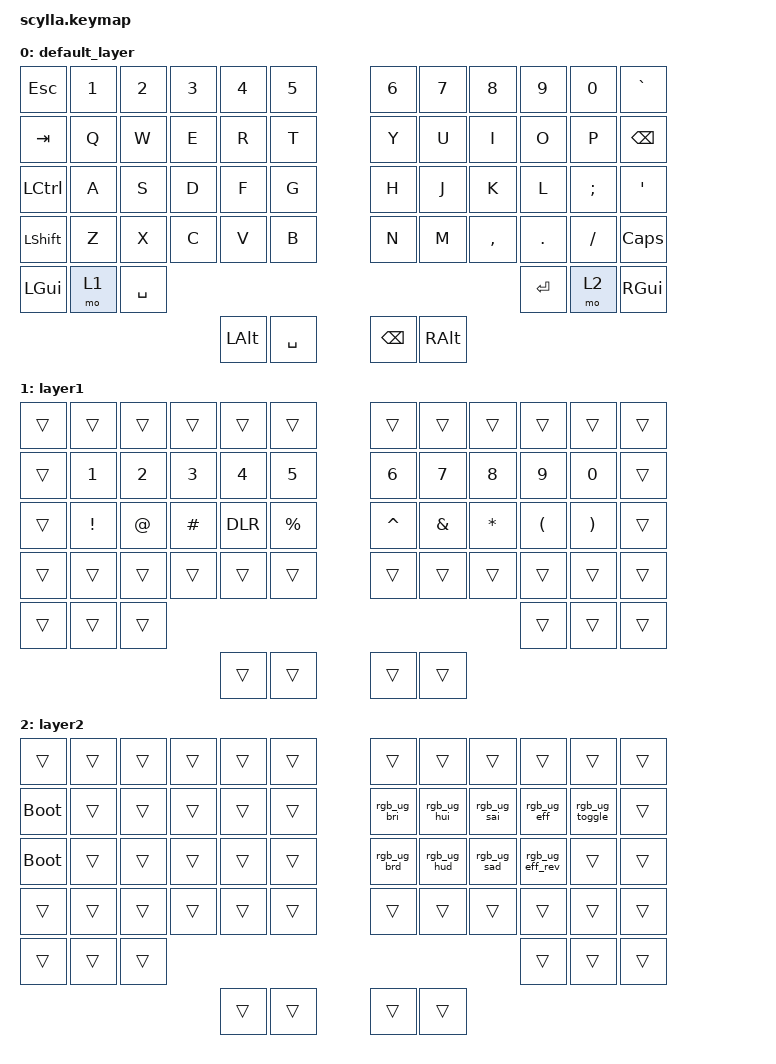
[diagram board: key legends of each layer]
#include <behaviors.dtsi>
#include <dt-bindings/zmk/keys.h>

/ {
	keymap {
		compatible = "zmk,keymap";

		default_layer {
// -----------------------------------------------------------------------------------------------------------------
// |  ESC  |  1  |  2  |  3   |  4   |  5  |                    |  6  |  7   |  8   |  9   |  0   |  GRV |
// |  TAB  |  Q  |  W  |  E   |  R   |  T  |                    |  Y  |  U   |  I   |  O   |  P   |  BSPC |
// | LCTRL |  A  |  S  |  D   |  F   |  G  |                    |  H  |  J   |  K   |  L   |  ;   |  QUOT |
// | LSHFT |  Z  |  X  |  C   |  V   |  B  |                    |  N  |  M   |  ,   |  .   |  /   |  CAPS |
//                 | LGUI | MO(1) | SPC |       | ENT | MO(2) | RGUI |
//                          | LALT | SPC |       | BSPC | RALT |
			bindings = <
&kp ESC      &kp NUMBER_1 &kp NUMBER_2 &kp NUMBER_3 &kp NUMBER_4 &kp NUMBER_5                     &kp NUMBER_6 &kp NUMBER_7 &kp NUMBER_8 &kp NUMBER_9 &kp NUMBER_0 &kp GRAVE
&kp TAB      &kp Q        &kp W        &kp E        &kp R        &kp T                            &kp Y        &kp U        &kp I        &kp O        &kp P        &kp BSPC
&kp LCTRL    &kp A        &kp S        &kp D        &kp F        &kp G                            &kp H        &kp J        &kp K        &kp L        &kp SEMI     &kp SQT
&kp LSHFT    &kp Z        &kp X        &kp C        &kp V        &kp B                            &kp N        &kp M        &kp COMMA    &kp DOT      &kp SLASH    &kp CAPS
                    &kp LGUI &mo 1 &kp SPACE &kp ENTER &mo 2 &kp RGUI
                    &kp LALT &kp SPACE &kp BSPC &kp RALT
			>;
		};

		layer1 {
// -----------------------------------------------------------------------------------------------------------------
// Number / symbol layer
// |      |  1  |  2  |  3   |  4   |  5  |                    |  6  |  7   |  8   |  9   |  0   |      |
// |      |  !  |  @  |  #   |  $   |  %  |                    |  ^  |  &   |  *   |  (   |  )   |      |
			bindings = <
&trans &trans &trans &trans &trans &trans                     &trans &trans &trans &trans &trans &trans
&trans &kp NUMBER_1 &kp NUMBER_2 &kp NUMBER_3 &kp NUMBER_4 &kp NUMBER_5                     &kp NUMBER_6 &kp NUMBER_7 &kp NUMBER_8 &kp NUMBER_9 &kp NUMBER_0 &trans
&trans &kp EXCL &kp AT &kp HASH &kp DLR &kp PERCENT                     &kp CARET &kp AMPS &kp ASTERISK &kp LPAR &kp RPAR &trans
&trans &trans &trans &trans &trans &trans                     &trans &trans &trans &trans &trans &trans
                    &trans &trans &trans &trans &trans &trans
                    &trans &trans &trans &trans
			>;
		};

		layer2 {
// -----------------------------------------------------------------------------------------------------------------
// RGB / utility layer
// | BOOT |     |     |      |      |     |                    | BRI  | HUE+ | SAT+ | EFF+ | TOGG |      |
// | BOOT |     |     |      |      |     |                    | BRD  | HUE- | SAT- | EFF- |      |      |
			bindings = <
&trans &trans &trans &trans &trans &trans                     &trans &trans &trans &trans &trans &trans
&bootloader &trans &trans &trans &trans &trans                     &rgb_ug_bri &rgb_ug_hui &rgb_ug_sai &rgb_ug_eff &rgb_ug_toggle &trans
&bootloader &trans &trans &trans &trans &trans                     &rgb_ug_brd &rgb_ug_hud &rgb_ug_sad &rgb_ug_eff_rev &trans &trans
&trans &trans &trans &trans &trans &trans                     &trans &trans &trans &trans &trans &trans
                    &trans &trans &trans &trans &trans &trans
                    &trans &trans &trans &trans
			>;
		};
	};
};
